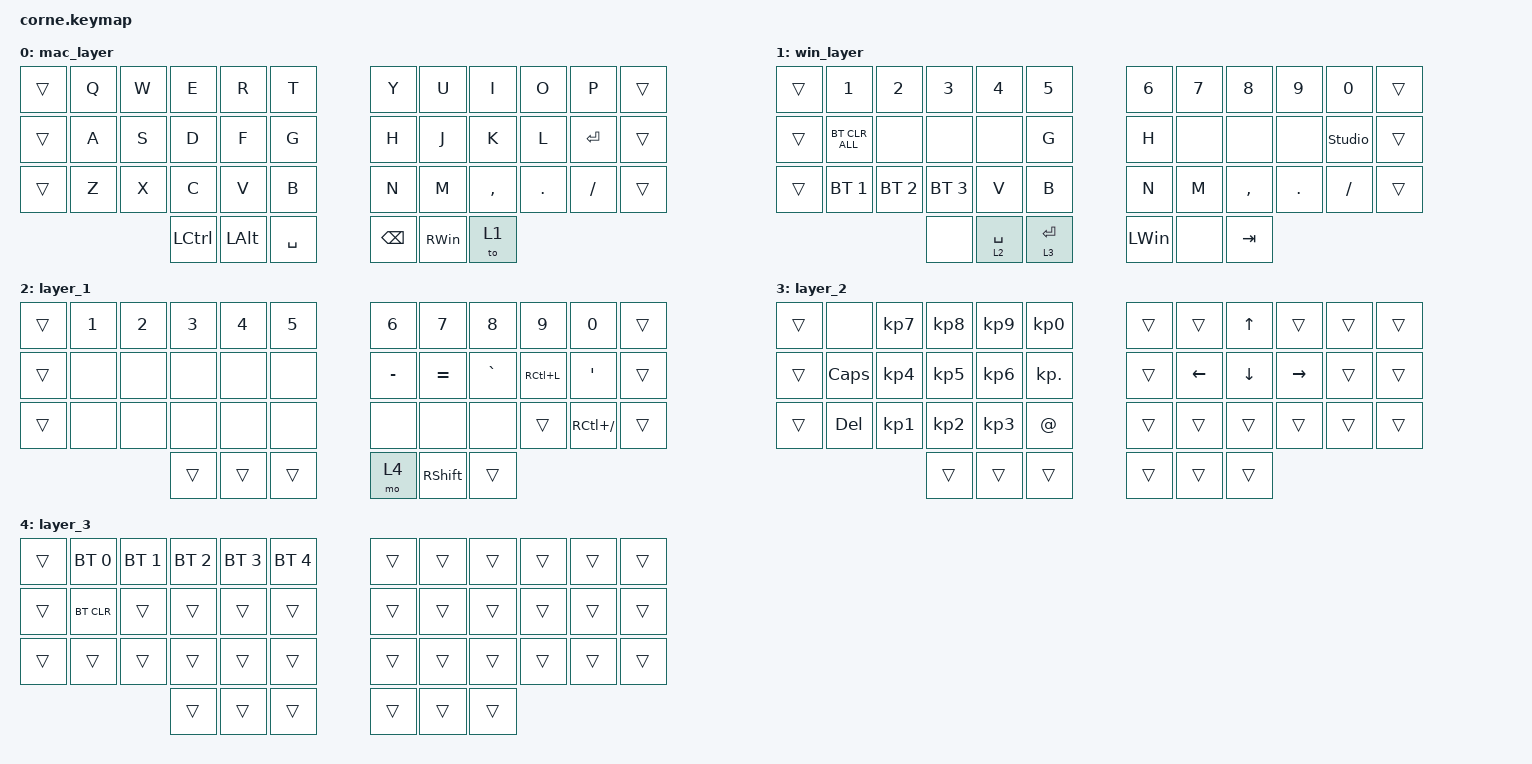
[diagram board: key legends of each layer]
/*
 * Copyright (c) 2020 The ZMK Contributors
 *
 * SPDX-License-Identifier: MIT
 */

#include <behaviors.dtsi>
#include <dt-bindings/zmk/bt.h>
#include <dt-bindings/zmk/keys.h>

/ {
    combos {
        compatible = "zmk,combos";

        combo1 {
            bindings = <&kp LBKT>;
            key-positions = <3 4>;
        };

        combo2 {
            bindings = <&kp RBKT>;
            key-positions = <7 8>;
        };

        combo3 {
            bindings = <&kp LEFT_PARENTHESIS>;
            key-positions = <15 16>;
        };

        combo4 {
            bindings = <&kp RIGHT_PARENTHESIS>;
            key-positions = <19 20>;
        };

        combo5 {
            bindings = <&kp LEFT_BRACE>;
            key-positions = <27 28>;
        };

        combo6 {
            bindings = <&kp RIGHT_BRACE>;
            key-positions = <31 32>;
        };

        combo7 {
            bindings = <&kp BACKSLASH>;
            key-positions = <5 6>;
        };

        combo8 {
            bindings = <&kp PIPE>;
            key-positions = <17 18>;
        };

        combo9 {
            bindings = <&to 0>;
            key-positions = <1 10>;
        };

        combo10 {
            bindings = <&to 1>;
            key-positions = <2 9>;
        };
    };

    keymap {
        compatible = "zmk,keymap";

        mac_layer {
            bindings = <
&trans  &kp Q  &kp W  &kp E      &kp R         &kp T        &kp Y          &kp U          &kp I      &kp O    &kp P      &trans
&trans  &kp A  &kp S  &kp D      &kp F         &kp G        &kp H          &kp J          &kp K      &kp L    &kp ENTER  &trans
&trans  &kp Z  &kp X  &kp C      &kp V         &kp B        &kp N          &kp M          &kp COMMA  &kp DOT  &kp FSLH   &trans
                      &kp LCTRL  &kp LEFT_ALT  &kp SPACE    &kp BACKSPACE  &kp RIGHT_WIN  &to 1
            >;
        };

        win_layer {
            bindings = <
&trans  &kp NUMBER_1    &kp NUMBER_2  &kp NUMBER_3  &kp NUMBER_4  &kp NUMBER_5    &kp NUMBER_6  &kp NUMBER_7  &kp NUMBER_8  &kp NUMBER_9  &kp NUMBER_0    &trans
&trans  &bt BT_CLR_ALL  &none         &none         &none         &kp G           &kp H         &none         &none         &none         &studio_unlock  &trans
&trans  &bt BT_SEL 1    &bt BT_SEL 2  &bt BT_SEL 3  &kp V         &kp B           &kp N         &kp M         &kp COMMA     &kp DOT       &kp FSLH        &trans
                                      &none         &lt 2 SPACE   &lt 3 ENTER     &kp LEFT_WIN  &none         &kp TAB
            >;
        };

        layer_1 {
            bindings = <
&trans  &kp NUMBER_1  &kp NUMBER_2  &kp NUMBER_3  &kp NUMBER_4  &kp NUMBER_5    &kp NUMBER_6  &kp NUMBER_7  &kp NUMBER_8  &kp NUMBER_9  &kp NUMBER_0   &trans
&trans  &none         &none         &none         &none         &none           &kp MINUS     &kp EQUAL     &kp GRAVE     &kp RC(L)     &kp SQT        &trans
&trans  &none         &none         &none         &none         &none           &none         &none         &none         &trans        &kp RC(SLASH)  &trans
                                    &trans        &trans        &trans          &mo 4         &kp RSHIFT    &trans
            >;
        };

        layer_2 {
            bindings = <
&trans  &none     &kp KP_NUMBER_7  &kp KP_NUMBER_8  &kp KP_NUMBER_9  &kp KP_NUMBER_0    &trans  &trans    &kp UP    &trans     &trans  &trans
&trans  &kp CAPS  &kp KP_NUMBER_4  &kp KP_NUMBER_5  &kp KP_NUMBER_6  &kp KP_DOT         &trans  &kp LEFT  &kp DOWN  &kp RIGHT  &trans  &trans
&trans  &kp DEL   &kp KP_NUMBER_1  &kp KP_NUMBER_2  &kp KP_NUMBER_3  &kp AT_SIGN        &trans  &trans    &trans    &trans     &trans  &trans
                                   &trans           &trans           &trans             &trans  &trans    &trans
            >;
        };

        layer_3 {
            bindings = <
&trans  &bt BT_SEL 0  &bt BT_SEL 1  &bt BT_SEL 2  &bt BT_SEL 3  &bt BT_SEL 4    &trans  &trans  &trans  &trans  &trans  &trans
&trans  &bt BT_CLR    &trans        &trans        &trans        &trans          &trans  &trans  &trans  &trans  &trans  &trans
&trans  &trans        &trans        &trans        &trans        &trans          &trans  &trans  &trans  &trans  &trans  &trans
                                    &trans        &trans        &trans          &trans  &trans  &trans
            >;
        };
    };
};
